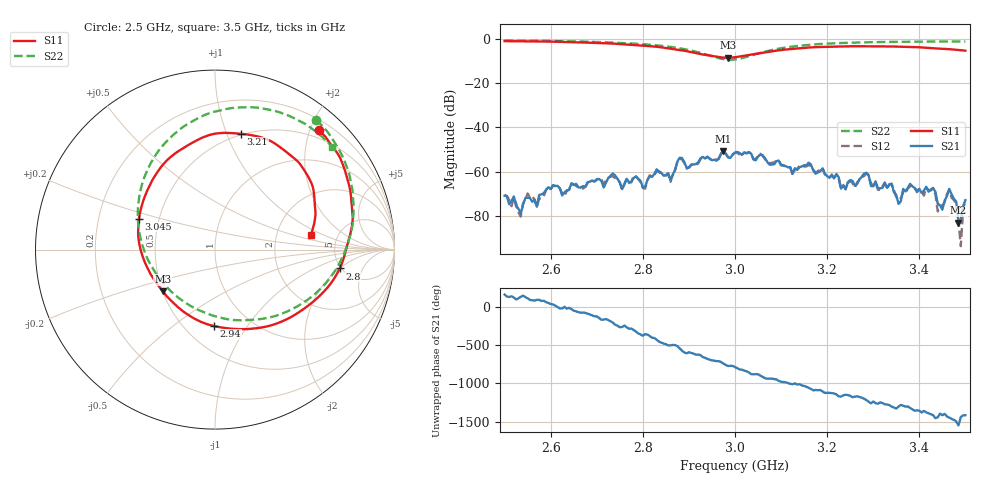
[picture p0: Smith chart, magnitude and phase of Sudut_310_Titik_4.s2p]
# Hz S RI R 50
! CMT, C1220, 16058040, 17.2.0/1
! Date: 15/08/2018 10:36:15
! Data: Format (Calibration Info)
! Freq  S11: Re/Im (F2)  S21: Re/Im (F2)  S12: Re/Im (F2)  S22: Re/Im (F2)
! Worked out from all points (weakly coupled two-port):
!   201 points, 2.5 GHz to 3.5 GHz, reference 50 ohm
!   highest |S21| = -50.81 dB at 2.975 GHz (marker M1); lowest = -83.0 dB at 3.485 GHz (marker M2)
!   lowest |S11| = -8.6 dB at 2.985 GHz (marker M3), VSWR 2.19, Z = 25 - j13.6 ohm
!   |S11| at or under -10 dB: nowhere
!   |S22| runs from -9.5 to -0.8 dB; largest |S21 - S12| = 0.00022
!   S11 on the Smith chart (normalised r, x): 2.5 GHz: 0.35, +2.14; 2.8 GHz: 4.86, -2.02; 2.94 GHz: 0.69, -0.71; 3.045 GHz: 0.38, +0.17; 3.21 GHz: 0.49, +1.13; 3.5 GHz: 3.17, +0.71
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2.5e9  0.5793 0.668  -0.000274 9.34e-05  -0.000273 0.000131  0.5644 0.723
2.535e9  0.6253 0.6144  -7.37e-05 8.63e-05  -7.91e-05 5.79e-05  0.604 0.6814
2.55e9  0.6395 0.5929  -9.39e-05 0.000242  -0.000142 0.000293  0.6215 0.6626
2.57e9  0.6655 0.5593  -6.22e-06 0.000164  5.3e-05 0.000152  0.6426 0.6336
2.67e9  0.7511 0.3407  0.000142 -0.000456  0.000138 -0.000397  0.7376 0.4516
2.8e9  0.695 -0.1049  0.000426 -0.000127  0.000419 -0.000116  0.7526 0.0746
2.835e9  0.6088 -0.2316  -8.32e-05 -0.00102  -7.17e-05 -0.001  0.7012 -0.061
2.94e9  -0.00509 -0.4259  0.00166 0.00139  0.00165 0.00146  0.1829 -0.3927
2.975e9  -0.2367 -0.2922  0.00267 -0.0011  0.00253 -0.00112  -0.0992 -0.3338
2.985e9  -0.2908 -0.2334  0.00128 -0.0017  0.00136 -0.00161  -0.1742 -0.2898
3e9  -0.3588 -0.1366  0.00108 -0.00252  0.000894 -0.00253  -0.2741 -0.2032
3.045e9  -0.4239 0.1726  -0.0017 -0.000652  -0.00177 -0.000764  -0.4275 0.1393
3.17e9  -0.00583 0.6447  0.00104 -0.00021  0.0011 -0.000139  -0.0786 0.7404
3.21e9  0.1455 0.645  0.000587 -0.00064  0.000489 -0.000631  0.0664 0.784
3.335e9  0.4681 0.4835  -0.000471 0.000212  -0.000451 0.000274  0.4018 0.7496
3.355e9  0.4988 0.4398  -0.000138 0.00013  -0.000152 0.000174  0.4404 0.7324
3.38e9  0.5319 0.3824  -0.000259 0.000469  -0.000248 0.000403  0.4876 0.7081
3.43e9  0.5555 0.256  0.000396 0.000182  0.000418 9.98e-05  0.5646 0.6557
3.44e9  0.5578 0.2306  0.00019 -1.01e-05  0.000127 1.73e-05  0.5791 0.6431
3.465e9  0.5571 0.171  0.000409 -5.36e-05  0.000391 -5.16e-05  0.6109 0.6159
3.485e9  0.5461 0.1193  -2.48e-05 -6.67e-05  3.24e-05 -7.18e-05  0.6342 0.5914
3.5e9  0.5337 0.0793  0.00021 9.25e-05  0.000238 4.53e-05  0.6512 0.5744
